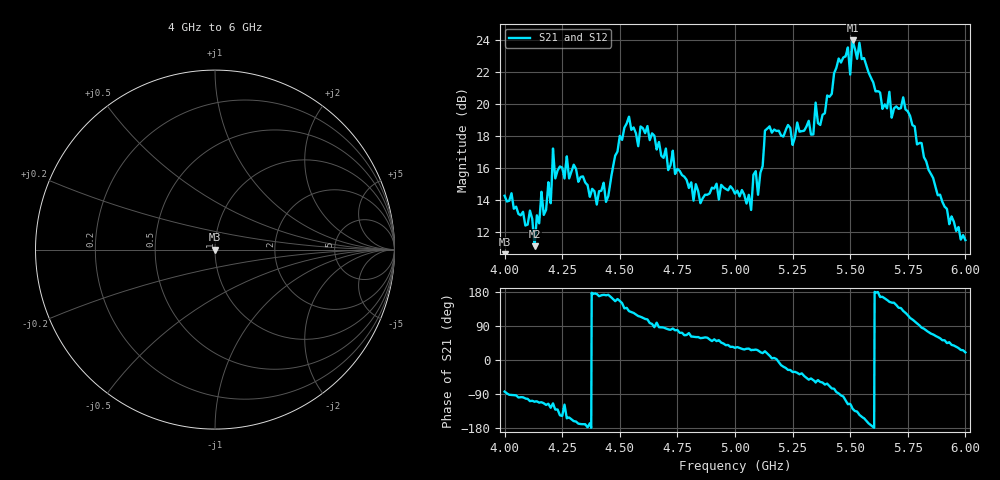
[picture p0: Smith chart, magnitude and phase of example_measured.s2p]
# GHz S RI R 50
! Example converted S2P file
! Freq(GHz)  S11_real  S11_imag  S21_real  S21_imag  S12_real  S12_imag  S22_real  S22_imag
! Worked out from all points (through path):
!   1001 points, 4 GHz to 6 GHz, reference 50 ohm
!   highest |S21| = 23.98 dB at 5.51 GHz (marker M1); lowest = 11.1 dB at 4.13 GHz (marker M2)
!   lowest |S11| = - dB at 4 GHz (marker M3), VSWR 1.00, Z = 50 + j0 ohm
!   |S11| at or under -10 dB: start of sweep to end of sweep
!   |S22| runs from - to - dB; largest |S21 - S12| = 0
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4  0 0  0.5902 -5.122  0.5902 -5.122  0 0
4.13  0 0  -1.239 -3.362  -1.239 -3.362  0 0
4.216  0 0  -3.585 -5.192  -3.585 -5.192  0 0
4.334  0 0  -5.81 -1.097  -5.81 -1.097  0 0
4.446  0 0  -4.998 0.7525  -4.998 0.7525  0 0
4.504  0 0  -7.027 3.496  -7.027 3.496  0 0
4.544  0 0  -5.402 6.916  -5.402 6.916  0 0
4.668  0 0  0.1343 7.524  0.1343 7.524  0 0
5  0 0  4.435 2.777  4.435 2.777  0 0
5.102  0 0  4.873 2.215  4.873 2.215  0 0
5.136  0 0  7.834 2.787  7.834 2.787  0 0
5.228  0 0  7.723 -3.619  7.723 -3.619  0 0
5.334  0 0  5.099 -6.189  5.099 -6.189  0 0
5.428  0 0  3.006 -11.7  3.006 -11.7  0 0
5.46  0 0  -0.8094 -13.45  -0.8094 -13.45  0 0
5.51  0 0  -9.806 -12.4  -9.806 -12.4  0 0
5.566  0 0  -12.46 -5.129  -12.46 -5.129  0 0
5.602  0 0  -11.52 -0.4361  -11.52 -0.4361  0 0
5.668  0 0  -9.62 4.576  -9.62 4.576  0 0
5.766  0 0  -2.809 8.349  -2.809 8.349  0 0
5.848  0 0  2.019 5.732  2.019 5.732  0 0
6  0 0  3.514 1.285  3.514 1.285  0 0
